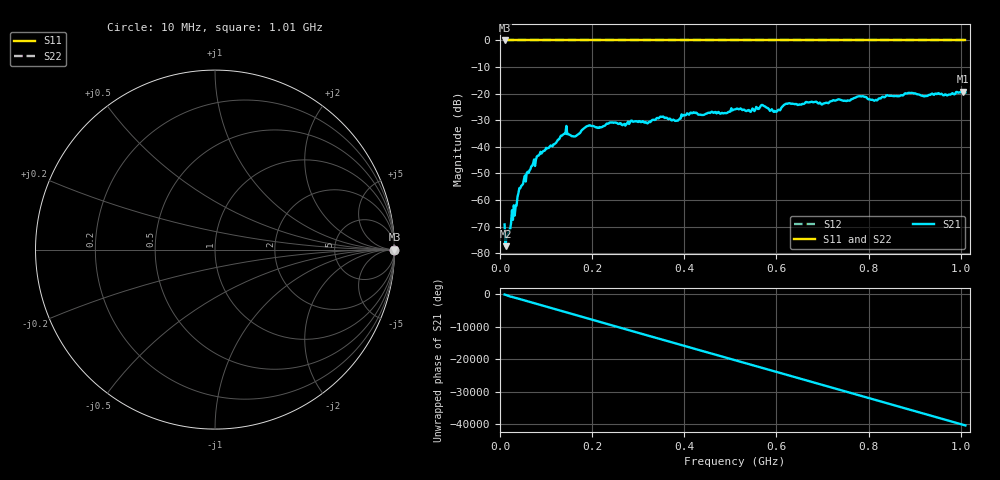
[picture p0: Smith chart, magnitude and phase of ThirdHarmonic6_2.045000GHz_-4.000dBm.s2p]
! 8/17/2025 12:31:11 AM
! C:\ANRITSUVNA\TEMP\TEMP.S2P
! CHANNEL.1
! TR.MEASUREMENT
! RAW.DATA
! RF.CORRECTION.OFF
! AVERAGING.OFF
! IF.BANDWIDTH: 5KHZ
! SWEEPTYPE:  FREQ.SWEEP(Linear)
! Reference Plane Port Info
! PORT:  PORT1  PORT2
! DISTANCE:  0  m  0  m
! TIME:  0  s  0  s
! PHASE.OFFSET:  0  deg.  0  deg.
! LOSS:  0  dB  0  dB
! REF.LOSS:  0  dB  0  dB
! REF.FREQ:  0  Hz  0  Hz
! Power Info
! POWER:  -20  dBm  -20  dBm
! EFF.POWER:  -20  dBm  -20  dBm
! SOURCE.ATTEN:  0  dB  0  dB
! TEST.ATTEN:  0  dB  0  dB
# GHZ S RI R 50.0
! FREQ.GHZ  S11RE  S11IM  S21RE  S21IM  S12RE  S12IM  S22RE  S22IM
!; PortSelection: Port_12
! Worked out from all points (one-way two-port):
!   501 points, 10 MHz to 1.01 GHz, reference 50 ohm
!   highest |S21| = -19.28 dB at 1.004 GHz (marker M1); lowest = -77.4 dB at 12 MHz (marker M2)
!   lowest |S11| = 0.0 dB at 10 MHz (marker M3)
!   |S11| at or under -10 dB: nowhere
!   |S22| runs from 0.0 to 0.0 dB; largest |S21 - S12| = 1.1
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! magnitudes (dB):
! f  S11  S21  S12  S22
! 10 MHz  0.0  -69.2  0.0  0.0
! 12 MHz  0.0  -77.4  0.0  0.0
! 16 MHz  0.0  -74.0  0.0  0.0
! 44 MHz  0.0  -55.6  0.0  0.0
! 84 MHz  0.0  -43.3  0.0  0.0
! 140 MHz  0.0  -35.1  0.0  0.0
! 160 MHz  0.0  -36.1  0.0  0.0
! 178 MHz  0.0  -33.6  0.0  0.0
! 192 MHz  0.0  -32.1  0.0  0.0
! 344 MHz  0.0  -29.3  0.0  0.0
! 384 MHz  0.0  -30.1  0.0  0.0
! 416 MHz  0.0  -27.3  0.0  0.0
! 510 MHz  0.0  -25.9  0.0  0.0
! 570 MHz  0.0  -24.3  0.0  0.0
! 598 MHz  0.0  -26.8  0.0  0.0
! 624 MHz  0.0  -23.8  0.0  0.0
! 678 MHz  0.0  -23.1  0.0  0.0
! 782 MHz  0.0  -20.9  0.0  0.0
! 814 MHz  0.0  -22.5  0.0  0.0
! 844 MHz  0.0  -20.8  0.0  0.0
! 1.004 GHz  0.0  -19.3  0.0  0.0
! 1.01 GHz  0.0  -19.6  0.0  0.0
